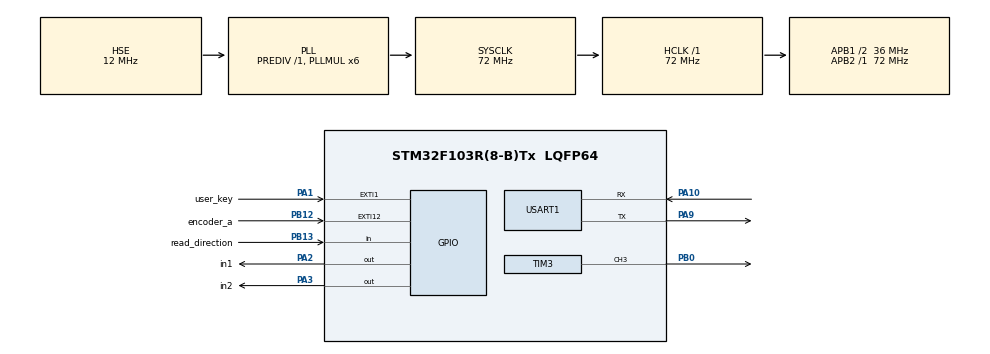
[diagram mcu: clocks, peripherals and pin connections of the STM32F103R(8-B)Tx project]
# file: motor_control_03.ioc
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Mcu.Family=STM32F1
Mcu.Name=STM32F103R(8-B)Tx
Mcu.Package=LQFP64
NVIC.EXTI15_10_IRQn=true\:0\:0\:false\:false\:true\:true\:true\:true
NVIC.EXTI1_IRQn=true\:0\:0\:false\:false\:true\:true\:true\:true
NVIC.PriorityGroup=NVIC_PRIORITYGROUP_4
NVIC.TIM2_IRQn=true\:0\:0\:false\:false\:true\:true\:true\:true
NVIC.USART1_IRQn=true\:0\:0\:false\:false\:true\:true\:true\:true
PA1.GPIO_Label=user_key
PA1.GPIO_PuPd=GPIO_PULLDOWN
PA1.Signal=GPXTI1
PA10.Mode=Asynchronous
PA10.Signal=USART1_RX
PA13.Mode=Serial_Wire
PA13.Signal=SYS_JTMS-SWDIO
PA14.Mode=Serial_Wire
PA14.Signal=SYS_JTCK-SWCLK
PA2.GPIO_Label=in1
PA2.Signal=GPIO_Output
PA3.GPIO_Label=in2
PA3.Signal=GPIO_Output
PA9.Mode=Asynchronous
PA9.Signal=USART1_TX
PB0.Signal=S_TIM3_CH3
PB12.GPIO_Label=encoder_a
PB12.Signal=GPXTI12
PB13.GPIO_Label=read_direction
PB13.Signal=GPIO_Input
PD0-OSC_IN.Mode=HSE-External-Oscillator
PD0-OSC_IN.Signal=RCC_OSC_IN
PD1-OSC_OUT.Mode=HSE-External-Oscillator
PD1-OSC_OUT.Signal=RCC_OSC_OUT
ProjectManager.HeapSize=0x200
ProjectManager.StackSize=0x400
ProjectManager.TargetToolchain=STM32CubeIDE
RCC.AHBFreq_Value=72000000
RCC.APB1CLKDivider=RCC_HCLK_DIV2
RCC.APB1Freq_Value=36000000
RCC.APB1TimFreq_Value=72000000
RCC.APB2Freq_Value=72000000
RCC.APB2TimFreq_Value=72000000
RCC.HCLKFreq_Value=72000000
RCC.HSE_VALUE=12000000
RCC.PLLMUL=RCC_PLL_MUL6
RCC.PLLSourceVirtual=RCC_PLLSOURCE_HSE
RCC.SYSCLKFreq_VALUE=72000000
RCC.SYSCLKSource=RCC_SYSCLKSOURCE_PLLCLK
RCC.USBFreq_Value=72000000
SH.S_TIM3_CH3.0=TIM3_CH3,PWM Generation3 CH3
TIM2.Period=100-1
TIM2.Prescaler=720-1
TIM3.Channel-PWM\ Generation3\ CH3=TIM_CHANNEL_3
TIM3.Period=1000-1
TIM3.Prescaler=18-1
USART1.VirtualMode=VM_ASYNC
VP_TIM2_VS_ClockSourceINT.Mode=Internal
board=custom

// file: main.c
/* USER CODE BEGIN Header */
/**
  ******************************************************************************
  * @file           : main.c
  * @brief          : Main program body
  ******************************************************************************
  * @attention
  *
  * Copyright (c) 2024 STMicroelectronics.
  * All rights reserved.
  *
  * This software is licensed under terms that can be found in the LICENSE file
  * in the root directory of this software component.
  * If no LICENSE file comes with this software, it is provided AS-IS.
  *
  ******************************************************************************
  */
/* USER CODE END Header */
#include "main.h"

#include "stdio.h"
#include "stdlib.h"
#include "string.h"

/* USER CODE BEGIN PD */
#define PI 3.14159265358979
#define dt 0.005

#define max_volt 24.0
#define min_volt 0.0

#define Kp 2.0
#define Kd 0.05

/* USER CODE END PD */

TIM_HandleTypeDef htim2;
TIM_HandleTypeDef htim3;

UART_HandleTypeDef huart1;

/* USER CODE BEGIN PV */
uint8_t UART_flag = 0;

uint8_t Timer_flag = 0;
uint32_t Time = 0;
uint8_t direction = 0;
uint8_t select_mode_flag = 1;
uint8_t play_flag = 0;
uint8_t set_flag = 0;
uint8_t turn_motor_flag = 0;

uint8_t mode_ch[2];
int pulse_count = 0;
int cur_location_pulse = 0;
float input_location = 0.0;
char directional_sign = ' ';
float T_setting_range = 0.0;

float a = 0.0;
float c = 0.0;
float d = 0.0;
float e = 0.0;

float Tf = 0.0;
float T1 = 0.0;
float T2 = 0.0;

float Af = 0.0;
float A1 = 0.0;
float A2 = 0.0;

float Vmax = 0.0;
float Vm = 0.0;
float Yd = 0.0;

double Time_sample = 0.0;
double cur_position = 0.0;
double target_position = 0.0;
float end_timing = 0.0;

float error = 0.0;
float old_error = 0.0;
float u = 0.0;
int set_duty = 0;

float Tf_sample = 0.0;
float T1_sample = 0.0;
float T2_sample = 0.0;

uint16_t i = 0;
uint16_t j =0;

char num_str[5];
float actual_location_degree = 0.0;
float previous_degree = 0.0;

//double *cur_position_mem;

/* USER CODE END PV */

void SystemClock_Config(void);
static void MX_GPIO_Init(void);
static void MX_TIM2_Init(void);
static void MX_TIM3_Init(void);
static void MX_USART1_UART_Init(void);
/* USER CODE BEGIN PFP */
#ifdef __cplusplus
extern "C" int _write(int32_t file, uint8_t *ptr, int32_t len) {
#else
int _write(int32_t file, uint8_t *ptr, int32_t len) {
#endif
    if( HAL_UART_Transmit(&huart1, ptr, len, len) == HAL_OK ) return len;
    else return 0;
}

/* USER CODE END PFP */

/* USER CODE BEGIN 0 */
void HAL_TIM_PeriodElapsedCallback(TIM_HandleTypeDef *htim) {
		Time++;
		if((Time % 5) == 0) {
			Timer_flag = 1;
		}
}

void HAL_UART_RxCpltCallback(UART_HandleTypeDef *huart)
{
	if(huart->Instance == USART1) {
		UART_flag = 1;
	}
}

void HAL_GPIO_EXTI_Callback(uint16_t GPIO_Pin) {
	direction = HAL_GPIO_ReadPin(read_direction_GPIO_Port, read_direction_Pin);

	pulse_count++;

	if(GPIO_Pin == encoder_a_Pin && direction == 1) {
		cur_location_pulse++;
	}
	if(GPIO_Pin == encoder_a_Pin && direction == 0) {
		cur_location_pulse--;
	}

	if(GPIO_Pin == user_key_Pin) {
		play_flag = 1;
	}
}

void select_operation_mode(void) {
	  uint8_t tx_data[] = "Select a mode: ";
	  HAL_UART_Transmit_IT(&huart1, (uint8_t*)tx_data, sizeof(tx_data));

	  uint8_t rx_buffer[3] = {0,0,'\n'};
	  HAL_UART_Receive_IT(&huart1, &rx_buffer, 2);
	  while(!UART_flag);
	  HAL_UART_Transmit_IT(&huart1, &rx_buffer, 3);
	  HAL_Delay(1000);

	  mode_ch[0] = rx_buffer[0];
	  mode_ch[1] = rx_buffer[1];

	  UART_flag = 0;
}

void input_condition(void) {
	  uint8_t tx_data[] = "Enter the target angle: ";
	  HAL_UART_Transmit_IT(&huart1, (uint8_t*)tx_data, sizeof(tx_data));

	  uint8_t rx_buffer[6] = {0,0,0,0,0,'\n'};
	  HAL_UART_Receive_IT(&huart1, &rx_buffer, 5);
	  while(!UART_flag);
	  HAL_UART_Transmit_IT(&huart1, &rx_buffer, 6);
	  HAL_Delay(1000);

	  directional_sign = rx_buffer[0];
	  memcpy(num_str, &rx_buffer[1], 4);
	  num_str[4] = '\0';

	  input_location = atof(num_str);

	  UART_flag = 0;
}

void input_Tf(void) {
	  uint8_t tx_data[] = "Enter a Tf: ";
	  HAL_UART_Transmit_IT(&huart1, (uint8_t*)tx_data, sizeof(tx_data));

	  uint8_t rx_buffer[5] = {0,0,0,0,'\n'};
	  HAL_UART_Receive_IT(&huart1, &rx_buffer, 4);
	  while(!UART_flag);
	  HAL_UART_Transmit_IT(&huart1, &rx_buffer, 5);
	  HAL_Delay(1000);

	  Tf = atof(rx_buffer);
	  UART_flag = 0;
}

void input_T1(void) {
	  uint8_t tx_data[] = "Enter a T1: ";
	  HAL_UART_Transmit_IT(&huart1, (uint8_t*)tx_data, sizeof(tx_data));

	  uint8_t rx_buffer[5] = {0,0,0,0,'\n'};
	  HAL_UART_Receive_IT(&huart1, &rx_buffer, 4);
	  while(!UART_flag);
	  HAL_UART_Transmit_IT(&huart1, &rx_buffer, 5);
	  HAL_Delay(1000);

	  T1 = atof(rx_buffer);
	  UART_flag = 0;
}

/* USER CODE END 0 */

int main(void)
{

  /* MCU Configuration--------------------------------------------------------*/

  /* Reset of all peripherals, Initializes the Flash interface and the Systick. */
  HAL_Init();

  /* Configure the system clock */
  SystemClock_Config();

  /* Initialize all configured peripherals */
  MX_GPIO_Init();
  MX_TIM2_Init();
  MX_TIM3_Init();
  MX_USART1_UART_Init();

  /* Infinite loop */
  /* USER CODE BEGIN WHILE */
  while (1)
  {
	  if(play_flag == 1) {
		  if(select_mode_flag == 1) {
			  actual_location_degree = (cur_location_pulse * 3.0) / 275.0;

			  select_operation_mode();
			  set_flag = 1;
			  select_mode_flag = 0;
		  }

		  if(mode_ch[0] == 'r' && mode_ch[1] == 'e') {
			  if(set_flag == 1) {
				  input_condition();
				  Af = (input_location * 11.0 * 2.0 * PI) / 60.0;

				  Vmax = (4490.0 / 60.0) * 2.0 * PI;
				  T_setting_range = Af / Vmax;

				  printf("[Tf - T1 > %f]\r\n",T_setting_range);
				  input_Tf();
				  input_T1();
				  T2 = Tf - T1;

				  Vm = Af / (Tf - T1);

				  A1 = (Vm * T1) / 2.0;
				  A2 = ((Vm * T1) / 2.0) + ((Tf - (2.0 * T1)) * Vm);

				  a = A1 / (T1 * T1);
				  c = (A2 - A1) / (T2 - T1);
				  d = (A1 * T2 - A2 * T1) / (T2 -T1);
				  e = (A2 - Af) / ((T2 - Tf) * (T2-Tf));

				  T1_sample = T1 * 1000.0;
				  T2_sample = T2 * 1000.0;
				  Tf_sample = Tf * 1000.0;

				  end_timing = (Tf * 1000.0) / 5.0;
				  //cur_position_mem = (float*)malloc(sizeof(float) * end_timing);

				  if(Vmax > Vm) {
					  printf("Condition pass!\r\n");
					  turn_motor_flag = 1;
					  set_flag = 0;

					  HAL_TIM_Base_Start_IT(&htim2);
					  HAL_TIM_PWM_Start(&htim3, TIM_CHANNEL_3);
					  htim3.Instance -> CCR3 = 0;

					  if(directional_sign == '+') {
						  HAL_GPIO_WritePin(in1_GPIO_Port, in1_Pin, GPIO_PIN_SET);
						  HAL_GPIO_WritePin(in2_GPIO_Port, in2_Pin, GPIO_PIN_RESET);
					  }
					  else if(directional_sign == '-') {
						  HAL_GPIO_WritePin(in1_GPIO_Port, in1_Pin, GPIO_PIN_RESET);
						  HAL_GPIO_WritePin(in2_GPIO_Port, in2_Pin, GPIO_PIN_SET);
					  }
				  }
				  else if (Vmax < Vm) {
					  printf("Insufficient conditions!\r\n");
					  HAL_GPIO_WritePin(in1_GPIO_Port, in1_Pin, GPIO_PIN_RESET);
					  HAL_GPIO_WritePin(in2_GPIO_Port, in2_Pin, GPIO_PIN_RESET);

		 	          select_mode_flag = 1;
		 	          play_flag = 0;
				  }
			  }
			  if(turn_motor_flag == 1 && Timer_flag == 1) {
				  Time_sample = (float)Time / 1000.0;

				  if(Time >= 0 && Time < T1_sample) {
					  Yd = a * Time_sample * Time_sample;
				  }
				  else if(Time >= T1_sample && Time < T2_sample) {
					  Yd = (c * Time_sample) + d;
				  }
				  else if(Time >= T2_sample && Time < Tf_sample) {
					  Yd = (e * (Time_sample - Tf) * (Time_sample - Tf)) + Af;
				  }

				  target_position = Yd;
				  cur_position = (pulse_count * 2.0 * PI) / 500.0;
				  //cur_position_mem[i] = cur_position;

				  error = target_position - cur_position;
				  u = Kp * error + Kd * (error - old_error);
				  old_error = error;

				  if(u > max_volt) u = max_volt;
				  if(u < min_volt) u = min_volt;

				  set_duty = (uint16_t)(1000.0 * u / 24.0);

				  htim3.Instance -> CCR3 = set_duty;

				  i++;
				  Timer_flag = 0;
			  }
			  if(turn_motor_flag == 1 && i >= end_timing) {
				  HAL_Delay(500);
				  previous_degree = actual_location_degree;
				  actual_location_degree = (cur_location_pulse * 3.0) / 275.0;
				  printf("mode: %c%c\r\nprevious: %f\r\nactual: %f\r\n",mode_ch[0], mode_ch[1], previous_degree, actual_location_degree);

				  /* ----------- Reset ----------- */
				  select_mode_flag = 1;
				  turn_motor_flag = 0;
				  play_flag = 0;
				  end_timing = 0.0;
				  mode_ch[0] = ' ';
		 		  mode_ch[1] = ' ';
		 		  i = 0;
		 		  Yd = 0.0;
		 		  Time = 0;
		 		  error = 0;
		 		  old_error = 0;
		 		  pulse_count = 0;

		 		  HAL_TIM_Base_Stop_IT(&htim2);
		 		  HAL_TIM_PWM_Stop(&htim3, TIM_CHANNEL_3);
		 		 //free(cur_position_mem);
		 		  printf("end!\r\n\n");
			  }
		  }
		  else if(mode_ch[0] == 'a' && mode_ch[1] == 'b') {
			  if(set_flag == 1) {
				  input_condition();

				  if(directional_sign == '+') {
					  if (input_location > actual_location_degree) {
						  directional_sign = '+';
						  Af = ((input_location - actual_location_degree) * 11.0 * 2.0 * PI) / 60.0;
					  }
					  else if (input_location < actual_location_degree) {
						  directional_sign = '-';
						  Af = ((actual_location_degree - input_location) * 11.0 * 2.0 * PI) / 60.0;
					  }
				  }
				  else if(directional_sign == '-') {
					  if ((-input_location) > actual_location_degree) {
						  directional_sign = '+';
						  Af = (((-input_location) - actual_location_degree) * 11.0 * 2.0 * PI) / 60.0;
					  }
					  else if ((-input_location) < actual_location_degree) {
						  directional_sign = '-';
						  Af = ((actual_location_degree - (-input_location)) * 11.0 * 2.0 * PI) / 60.0;
					  }
				  }

				  Vmax = (4490.0 / 60.0) * 2.0 * PI;
				  T_setting_range = Af / Vmax;

				  printf("[Tf - T1 > %f]\r\n",T_setting_range);
				  input_Tf();
				  input_T1();
				  T2 = Tf - T1;

				  Vm = Af / (Tf - T1);

				  A1 = (Vm * T1) / 2.0;
				  A2 = ((Vm * T1) / 2.0) + ((Tf - (2.0 * T1)) * Vm);

				  a = A1 / (T1 * T1);
				  c = (A2 - A1) / (T2 - T1);
				  d = (A1 * T2 - A2 * T1) / (T2 -T1);
				  e = (A2 - Af) / ((T2 - Tf) * (T2-Tf));

				  T1_sample = T1 * 1000.0;
				  T2_sample = T2 * 1000.0;
				  Tf_sample = Tf * 1000.0;

				  end_timing = (Tf * 1000.0) / 5.0;
				  //cur_position_mem = (float*)malloc(sizeof(float) * end_timing);

				  if(Vmax > Vm) {
					  printf("Condition pass!\r\n");
					  turn_motor_flag = 1;
					  set_flag = 0;

					  HAL_TIM_Base_Start_IT(&htim2);
					  HAL_TIM_PWM_Start(&htim3, TIM_CHANNEL_3);
					  htim3.Instance -> CCR3 = 0;

					  if(directional_sign == '+') {
						  HAL_GPIO_WritePin(in1_GPIO_Port, in1_Pin, GPIO_PIN_SET);
						  HAL_GPIO_WritePin(in2_GPIO_Port, in2_Pin, GPIO_PIN_RESET);
					  }
					  else if(directional_sign == '-') {
						  HAL_GPIO_WritePin(in1_GPIO_Port, in1_Pin, GPIO_PIN_RESET);
						  HAL_GPIO_WritePin(in2_GPIO_Port, in2_Pin, GPIO_PIN_SET);
					  }
				  }
				  else if (Vmax < Vm) {
					  printf("Insufficient conditions!\r\n");
		 	          HAL_GPIO_WritePin(in1_GPIO_Port, in1_Pin, GPIO_PIN_RESET);
		 	          HAL_GPIO_WritePin(in2_GPIO_Port, in2_Pin, GPIO_PIN_RESET);

		 	          select_mode_flag = 1;
		 	          play_flag = 0;
				  }
			  }
			  if(turn_motor_flag == 1 && Timer_flag == 1) {
				  Time_sample = (float)Time / 1000.0;

				  if(Time >= 0 && Time < T1_sample) {
					  Yd = a * Time_sample * Time_sample;
				  }
				  else if(Time >= T1_sample && Time < T2_sample) {
					  Yd = (c * Time_sample) + d;
				  }
				  else if(Time >= T2_sample && Time < Tf_sample) {
					  Yd = (e * (Time_sample - Tf) * (Time_sample - Tf)) + Af;
				  }

				  target_position = Yd;
				  cur_position = (pulse_count * 2.0 * PI) / 500.0;
				  //cur_position_mem[i] = cur_position;

				  error = target_position - cur_position;
				  u = Kp * error + Kd * (error - old_error);
				  old_error = error;

				  if(u > max_volt) u = max_volt;
				  if(u < min_volt) u = min_volt;

				  set_duty = (uint16_t)(1000.0 * u / 24.0);

				  htim3.Instance -> CCR3 = set_duty;

				  i++;
				  Timer_flag = 0;
			  }
			  if(turn_motor_flag == 1 && i >= end_timing) {
				  HAL_Delay(500);
				  previous_degree = actual_location_degree;
				  actual_location_degree = (cur_location_pulse * 3.0) / 275.0;
				  printf("mode: %c%c\r\nprevious: %f\r\nactual: %f\r\n",mode_ch[0], mode_ch[1], previous_degree, actual_location_degree);

				  /* ----------- Reset ----------- */
				  select_mode_flag = 1;
				  turn_motor_flag = 0;
				  play_flag = 0;
				  end_timing = 0.0;
				  mode_ch[0] = ' ';
				  mode_ch[1] = ' ';
				  i = 0;
				  Yd = 0.0;
				  Time = 0;
				  error = 0;
				  old_error = 0;
				  pulse_count= 0;

				  HAL_TIM_Base_Stop_IT(&htim2);
				  HAL_TIM_PWM_Stop(&htim3, TIM_CHANNEL_3);
				  //free(cur_position_mem);
				  printf("end!\r\n\n");
			  }
		  }
		  else if(mode_ch[0] == 's' && mode_ch[1] == 'p') {
			  if(set_flag == 1) {

				  if (actual_location_degree > 0) {
					  Af = (actual_location_degree * 11.0 * 2.0 * PI) / 60.0;
					  directional_sign = '-';
				  }
				  else if (actual_location_degree < 0) {
					  Af = -(actual_location_degree * 11.0 * 2.0 * PI) / 60.0;
					  directional_sign = '+';
				  }
				  T_setting_range = Af / Vmax;

				  printf("[Tf - T1 > %f]\r\n",T_setting_range);
				  input_Tf();
				  input_T1();
				  T2 = Tf - T1;

				  Vm = Af / (Tf - T1);

				  A1 = (Vm * T1) / 2.0;
				  A2 = ((Vm * T1) / 2.0) + ((Tf - (2.0 * T1)) * Vm);

				  a = A1 / (T1 * T1);
				  c = (A2 - A1) / (T2 - T1);
				  d = (A1 * T2 - A2 * T1) / (T2 -T1);
				  e = (A2 - Af) / ((T2 - Tf) * (T2-Tf));

				  T1_sample = T1 * 1000.0;
				  T2_sample = T2 * 1000.0;
				  Tf_sample = Tf * 1000.0;

				  end_timing = (Tf * 1000.0) / 5.0;
				  //cur_position_mem = (float*)malloc(sizeof(float) * end_timing);

				  if(Vmax > Vm) {
					  printf("condition pass!\r\n");
					  turn_motor_flag = 1;
					  set_flag = 0;

					  HAL_TIM_Base_Start_IT(&htim2);
					  HAL_TIM_PWM_Start(&htim3, TIM_CHANNEL_3);
					  htim3.Instance -> CCR3 = 0;

					  if(directional_sign == '+') {
						  HAL_GPIO_WritePin(in1_GPIO_Port, in1_Pin, GPIO_PIN_SET);
						  HAL_GPIO_WritePin(in2_GPIO_Port, in2_Pin, GPIO_PIN_RESET);
					  }
					  else if(directional_sign == '-') {
						  HAL_GPIO_WritePin(in1_GPIO_Port, in1_Pin, GPIO_PIN_RESET);
						  HAL_GPIO_WritePin(in2_GPIO_Port, in2_Pin, GPIO_PIN_SET);
					  }
				  }
				  else if (Vmax < Vm) {
					  printf("Insufficient conditions!\r\n");
					  HAL_GPIO_WritePin(in1_GPIO_Port, in1_Pin, GPIO_PIN_RESET);
					  HAL_GPIO_WritePin(in2_GPIO_Port, in2_Pin, GPIO_PIN_RESET);

					  select_mode_flag = 1;
					  play_flag = 0;
				  }
			  }
			  if(turn_motor_flag == 1 && Timer_flag == 1) {
				  Time_sample = (float)Time / 1000.0;

				  if(Time >= 0 && Time < T1_sample) {
					  Yd = a * Time_sample * Time_sample;
				  }
				  else if(Time >= T1_sample && Time < T2_sample) {
					  Yd = (c * Time_sample) + d;
				  }
				  else if(Time >= T2_sample && Time < Tf_sample) {
					  Yd = (e * (Time_sample - Tf) * (Time_sample - Tf)) + Af;
				  }

				  target_position = Yd;
				  cur_position = (pulse_count * 2.0 * PI) / 500.0;
				  //cur_position_mem[i] = cur_position;

				  error = target_position - cur_position;
				  u = Kp * error + Kd * (error - old_error);
				  old_error = error;

				  if(u > max_volt) u = max_volt;
				  if(u < min_volt) u = min_volt;

				  set_duty = (uint16_t)(1000.0 * u / 24.0);

				  htim3.Instance -> CCR3 = set_duty;

				  i++;
				  Timer_flag = 0;
			  }
			  if(turn_motor_flag == 1 && i >= end_timing) {
				  HAL_Delay(500);
				  previous_degree = actual_location_degree;
				  actual_location_degree = (cur_location_pulse * 3.0) / 275.0;
				  printf("mode: %c%c\r\previous: %f\r\nactual: %f\r\n",mode_ch[0], mode_ch[1], previous_degree, actual_location_degree);

				  /* ----------- Reset ----------- */
				  select_mode_flag = 1;
				  turn_motor_flag = 0;
				  play_flag = 0;
				  end_timing = 0.0;
				  mode_ch[0] = ' ';
				  mode_ch[1] = ' ';
				  i = 0;
				  Yd = 0.0;
				  Time = 0;
				  error = 0;
				  old_error = 0;
				  pulse_count = 0;

				  HAL_TIM_Base_Stop_IT(&htim2);
				  HAL_TIM_PWM_Stop(&htim3, TIM_CHANNEL_3);
				  //free(cur_position_mem);
				  printf("end!\r\n\n");
			  }
		  }
	  }

    /* USER CODE END WHILE */

  }
}

void SystemClock_Config(void)
{
  RCC_OscInitTypeDef RCC_OscInitStruct = {0};
  RCC_ClkInitTypeDef RCC_ClkInitStruct = {0};

  /** Initializes the RCC Oscillators according to the specified parameters
  * in the RCC_OscInitTypeDef structure.
  */
  RCC_OscInitStruct.OscillatorType = RCC_OSCILLATORTYPE_HSE;
  RCC_OscInitStruct.HSEState = RCC_HSE_ON;
  RCC_OscInitStruct.HSEPredivValue = RCC_HSE_PREDIV_DIV1;
  RCC_OscInitStruct.HSIState = RCC_HSI_ON;
  RCC_OscInitStruct.PLL.PLLState = RCC_PLL_ON;
  RCC_OscInitStruct.PLL.PLLSource = RCC_PLLSOURCE_HSE;
  RCC_OscInitStruct.PLL.PLLMUL = RCC_PLL_MUL6;
  if (HAL_RCC_OscConfig(&RCC_OscInitStruct) != HAL_OK)
  {
    Error_Handler();
  }

  /** Initializes the CPU, AHB and APB buses clocks
  */
  RCC_ClkInitStruct.ClockType = RCC_CLOCKTYPE_HCLK|RCC_CLOCKTYPE_SYSCLK
                              |RCC_CLOCKTYPE_PCLK1|RCC_CLOCKTYPE_PCLK2;
  RCC_ClkInitStruct.SYSCLKSource = RCC_SYSCLKSOURCE_PLLCLK;
  RCC_ClkInitStruct.AHBCLKDivider = RCC_SYSCLK_DIV1;
  RCC_ClkInitStruct.APB1CLKDivider = RCC_HCLK_DIV2;
  RCC_ClkInitStruct.APB2CLKDivider = RCC_HCLK_DIV1;

  if (HAL_RCC_ClockConfig(&RCC_ClkInitStruct, FLASH_LATENCY_2) != HAL_OK)
  {
    Error_Handler();
  }
}

static void MX_TIM2_Init(void)
{

  TIM_ClockConfigTypeDef sClockSourceConfig = {0};
  TIM_MasterConfigTypeDef sMasterConfig = {0};

  htim2.Instance = TIM2;
  htim2.Init.Prescaler = 720-1;
  htim2.Init.CounterMode = TIM_COUNTERMODE_UP;
  htim2.Init.Period = 100-1;
  htim2.Init.ClockDivision = TIM_CLOCKDIVISION_DIV1;
  htim2.Init.AutoReloadPreload = TIM_AUTORELOAD_PRELOAD_DISABLE;
  if (HAL_TIM_Base_Init(&htim2) != HAL_OK)
  {
    Error_Handler();
  }
  sClockSourceConfig.ClockSource = TIM_CLOCKSOURCE_INTERNAL;
  if (HAL_TIM_ConfigClockSource(&htim2, &sClockSourceConfig) != HAL_OK)
  {
    Error_Handler();
  }
  sMasterConfig.MasterOutputTrigger = TIM_TRGO_RESET;
  sMasterConfig.MasterSlaveMode = TIM_MASTERSLAVEMODE_DISABLE;
  if (HAL_TIMEx_MasterConfigSynchronization(&htim2, &sMasterConfig) != HAL_OK)
  {
    Error_Handler();
  }

}

static void MX_TIM3_Init(void)
{

  TIM_MasterConfigTypeDef sMasterConfig = {0};
  TIM_OC_InitTypeDef sConfigOC = {0};

  htim3.Instance = TIM3;
  htim3.Init.Prescaler = 18-1;
  htim3.Init.CounterMode = TIM_COUNTERMODE_UP;
  htim3.Init.Period = 1000-1;
  htim3.Init.ClockDivision = TIM_CLOCKDIVISION_DIV1;
  htim3.Init.AutoReloadPreload = TIM_AUTORELOAD_PRELOAD_DISABLE;
  if (HAL_TIM_PWM_Init(&htim3) != HAL_OK)
  {
    Error_Handler();
  }
  sMasterConfig.MasterOutputTrigger = TIM_TRGO_RESET;
  sMasterConfig.MasterSlaveMode = TIM_MASTERSLAVEMODE_DISABLE;
  if (HAL_TIMEx_MasterConfigSynchronization(&htim3, &sMasterConfig) != HAL_OK)
  {
    Error_Handler();
  }
  sConfigOC.OCMode = TIM_OCMODE_PWM1;
  sConfigOC.Pulse = 0;
  sConfigOC.OCPolarity = TIM_OCPOLARITY_HIGH;
  sConfigOC.OCFastMode = TIM_OCFAST_DISABLE;
  if (HAL_TIM_PWM_ConfigChannel(&htim3, &sConfigOC, TIM_CHANNEL_3) != HAL_OK)
  {
    Error_Handler();
  }
  HAL_TIM_MspPostInit(&htim3);

}

static void MX_USART1_UART_Init(void)
{

  huart1.Instance = USART1;
  huart1.Init.BaudRate = 115200;
  huart1.Init.WordLength = UART_WORDLENGTH_8B;
  huart1.Init.StopBits = UART_STOPBITS_1;
  huart1.Init.Parity = UART_PARITY_NONE;
  huart1.Init.Mode = UART_MODE_TX_RX;
  huart1.Init.HwFlowCtl = UART_HWCONTROL_NONE;
  huart1.Init.OverSampling = UART_OVERSAMPLING_16;
  if (HAL_UART_Init(&huart1) != HAL_OK)
  {
    Error_Handler();
  }

}

static void MX_GPIO_Init(void)
{
  GPIO_InitTypeDef GPIO_InitStruct = {0};

  /* GPIO Ports Clock Enable */
  __HAL_RCC_GPIOD_CLK_ENABLE();
  __HAL_RCC_GPIOA_CLK_ENABLE();
  __HAL_RCC_GPIOB_CLK_ENABLE();

  /*Configure GPIO pin Output Level */
  HAL_GPIO_WritePin(GPIOA, in1_Pin|in2_Pin, GPIO_PIN_RESET);

  /*Configure GPIO pin : user_key_Pin */
  GPIO_InitStruct.Pin = user_key_Pin;
  GPIO_InitStruct.Mode = GPIO_MODE_IT_RISING;
  GPIO_InitStruct.Pull = GPIO_PULLDOWN;
  HAL_GPIO_Init(user_key_GPIO_Port, &GPIO_InitStruct);

  /*Configure GPIO pins : in1_Pin in2_Pin */
  GPIO_InitStruct.Pin = in1_Pin|in2_Pin;
  GPIO_InitStruct.Mode = GPIO_MODE_OUTPUT_PP;
  GPIO_InitStruct.Pull = GPIO_NOPULL;
  GPIO_InitStruct.Speed = GPIO_SPEED_FREQ_LOW;
  HAL_GPIO_Init(GPIOA, &GPIO_InitStruct);

  /*Configure GPIO pin : encoder_a_Pin */
  GPIO_InitStruct.Pin = encoder_a_Pin;
  GPIO_InitStruct.Mode = GPIO_MODE_IT_RISING;
  GPIO_InitStruct.Pull = GPIO_NOPULL;
  HAL_GPIO_Init(encoder_a_GPIO_Port, &GPIO_InitStruct);

  /*Configure GPIO pin : read_direction_Pin */
  GPIO_InitStruct.Pin = read_direction_Pin;
  GPIO_InitStruct.Mode = GPIO_MODE_INPUT;
  GPIO_InitStruct.Pull = GPIO_NOPULL;
  HAL_GPIO_Init(read_direction_GPIO_Port, &GPIO_InitStruct);

  /* EXTI interrupt init*/
  HAL_NVIC_SetPriority(EXTI1_IRQn, 0, 0);
  HAL_NVIC_EnableIRQ(EXTI1_IRQn);

  HAL_NVIC_SetPriority(EXTI15_10_IRQn, 0, 0);
  HAL_NVIC_EnableIRQ(EXTI15_10_IRQn);

}

void Error_Handler(void)
{
  __disable_irq();
  while (1)
  {
  }
}
